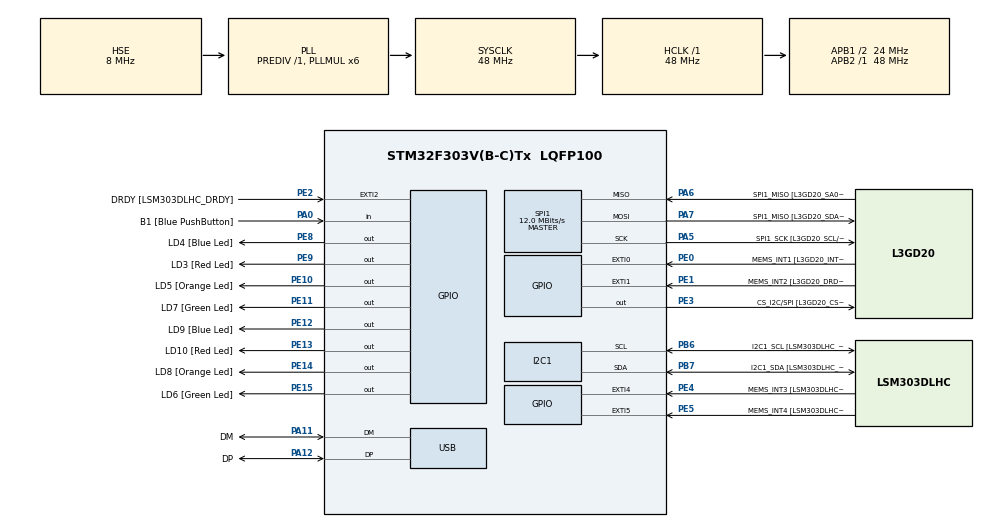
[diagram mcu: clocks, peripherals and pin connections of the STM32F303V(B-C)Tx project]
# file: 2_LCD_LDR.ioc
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I2C1.Timing=0x00201D2B
I2C1.Timing-I2C=0x2000090E
Mcu.Family=STM32F3
Mcu.Name=STM32F303V(B-C)Tx
Mcu.Package=LQFP100
NVIC.PriorityGroup=NVIC_PRIORITYGROUP_0
PA0.GPIO_Label=B1 [Blue PushButton]
PA0.Signal=GPIO_Input
PA11.GPIO_Label=DM
PA11.Mode=Device
PA11.Signal=USB_DM
PA12.GPIO_Label=DP
PA12.Mode=Device
PA12.Signal=USB_DP
PA13.GPIO_Label=SWDIO
PA13.Mode=Serial_Wire
PA13.Signal=SYS_JTMS-SWDIO
PA14.GPIO_Label=SWCLK
PA14.Mode=Serial_Wire
PA14.Signal=SYS_JTCK-SWCLK
PA5.GPIO_Label=SPI1_SCK [L3GD20_SCL/SPC]
PA5.Mode=Full_Duplex_Master
PA5.Signal=SPI1_SCK
PA6.GPIO_Label=SPI1_MISO [L3GD20_SA0/SDO]
PA6.Mode=Full_Duplex_Master
PA6.Signal=SPI1_MISO
PA7.GPIO_Label=SPI1_MISO [L3GD20_SDA/SDI/SDO]
PA7.Mode=Full_Duplex_Master
PA7.Signal=SPI1_MOSI
PB3.GPIO_Label=SWO
PB3.Signal=SYS_JTDO-TRACESWO
PB6.GPIO_Label=I2C1_SCL [LSM303DLHC_SCL]
PB6.GPIO_Pu=GPIO_PULLUP
PB6.Mode=I2C
PB6.Signal=I2C1_SCL
PB7.GPIO_Label=I2C1_SDA [LSM303DLHC_SDA]
PB7.GPIO_Pu=GPIO_PULLUP
PB7.Mode=I2C
PB7.Signal=I2C1_SDA
PC14-OSC32_IN.GPIO_Label=OSC32_IN
PC14-OSC32_IN.Signal=RCC_OSC32_IN
PC15-OSC32_OUT.GPIO_Label=OSC32_OUT
PC15-OSC32_OUT.Signal=RCC_OSC32_OUT
PE0.GPIO_Label=MEMS_INT1 [L3GD20_INT1]
PE0.GPIO_ModeDefaultEXTI=GPIO_MODE_EVT_RISING
PE0.Signal=GPXTI0
PE1.GPIO_Label=MEMS_INT2 [L3GD20_DRDY/INT2]
PE1.GPIO_ModeDefaultEXTI=GPIO_MODE_EVT_RISING
PE1.Signal=GPXTI1
PE10.GPIO_Label=LD5 [Orange Led]
PE10.Signal=GPIO_Output
PE11.GPIO_Label=LD7 [Green Led]
PE11.Signal=GPIO_Output
PE12.GPIO_Label=LD9 [Blue Led]
PE12.Signal=GPIO_Output
PE13.GPIO_Label=LD10 [Red Led]
PE13.Signal=GPIO_Output
PE14.GPIO_Label=LD8 [Orange Led]
PE14.Signal=GPIO_Output
PE15.GPIO_Label=LD6 [Green Led]
PE15.Signal=GPIO_Output
PE2.GPIO_Label=DRDY [LSM303DLHC_DRDY]
PE2.GPIO_ModeDefaultEXTI=GPIO_MODE_EVT_RISING
PE2.Signal=GPXTI2
PE3.GPIO_Label=CS_I2C/SPI [L3GD20_CS_I2C/SPI]
PE3.Signal=GPIO_Output
PE4.GPIO_Label=MEMS_INT3 [LSM303DLHC_INT1]
PE4.GPIO_ModeDefaultEXTI=GPIO_MODE_EVT_RISING
PE4.Signal=GPXTI4
PE5.GPIO_Label=MEMS_INT4 [LSM303DLHC_INT2]
PE5.GPIO_ModeDefaultEXTI=GPIO_MODE_EVT_RISING
PE5.Signal=GPXTI5
PE8.GPIO_Label=LD4 [Blue Led]
PE8.Signal=GPIO_Output
PE9.GPIO_Label=LD3 [Red Led]
PE9.Signal=GPIO_Output
PF0-OSC_IN.GPIO_Label=OSC_IN
PF0-OSC_IN.Mode=HSE-External-Clock-Source
PF0-OSC_IN.Signal=RCC_OSC_IN
PF1-OSC_OUT.GPIO_Label=OSC_OUT
PF1-OSC_OUT.Signal=RCC_OSC_OUT
ProjectManager.HeapSize=0x200
ProjectManager.StackSize=0x400
ProjectManager.TargetToolchain=STM32CubeIDE
RCC.AHBFreq_Value=48000000
RCC.APB1CLKDivider=RCC_HCLK_DIV2
RCC.APB1Freq_Value=24000000
RCC.APB1TimFreq_Value=48000000
RCC.APB2Freq_Value=48000000
RCC.APB2TimFreq_Value=48000000
RCC.CortexFreq_Value=48000000
RCC.HCLKFreq_Value=48000000
RCC.HSE_VALUE=8000000
RCC.HSI_VALUE=8000000
RCC.LSE_VALUE=32768
RCC.PLLMUL=RCC_PLL_MUL6
RCC.SYSCLKFreq_VALUE=48000000
RCC.SYSCLKSourceVirtual=RCC_SYSCLKSOURCE_PLLCLK
RCC.USBFreq_Value=48000000
SPI1.BaudRatePrescaler=SPI_BAUDRATEPRESCALER_4
SPI1.BaudRatePrescaler-Full_Duplex_Master=SPI_BAUDRATEPRESCALER_2
SPI1.CalculateBaudRate=12.0 MBits/s
SPI1.CalculateBaudRate-Full_Duplex_Master=24.0 MBits/s
SPI1.Direction=SPI_DIRECTION_2LINES
SPI1.Mode=SPI_MODE_MASTER
SPI1.Mode-Full_Duplex_Master=SPI_MODE_MASTER
SPI1.VirtualType=VM_MASTER
board=STM32F3DISCOVERY

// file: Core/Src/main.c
/* USER CODE BEGIN Header */
/**
  ******************************************************************************
  * @file           : main.c 2_LCD_LDR
  * @brief          : Main program body
  ******************************************************************************
  * @attention
  *
  * Copyright (c) 2025 STMicroelectronics.
  * All rights reserved.
  *
  * This software is licensed under terms that can be found in the LICENSE file
  * in the root directory of this software component.
  * If no LICENSE file comes with this software, it is provided AS-IS.
  *
  ******************************************************************************
  */
/* USER CODE END Header */
#include "main.h"

/* USER CODE BEGIN Includes */
#include "stm32f3xx_hal.h"
#include "stdio.h"
#include "string.h"
#include "i2c.h"
#include "adc.h"
#include "timer.h"

/* USER CODE END Includes */

/* USER CODE BEGIN PD */
#define LIGHT_THRESHOLD 3400

/* USER CODE END PD */

I2C_HandleTypeDef hi2c1;

SPI_HandleTypeDef hspi1;

PCD_HandleTypeDef hpcd_USB_FS;

/* USER CODE BEGIN PV */
uint16_t lux=0;
char msg[20];
/* USER CODE END PV */

void SystemClock_Config(void);
static void MX_GPIO_Init(void);
static void MX_I2C1_Init(void);
static void MX_SPI1_Init(void);
static void MX_USB_PCD_Init(void);

int main(void)
{

  /* MCU Configuration--------------------------------------------------------*/

  /* Reset of all peripherals, Initializes the Flash interface and the Systick. */
  HAL_Init();

  /* Configure the system clock */
  SystemClock_Config();

  /* Initialize all configured peripherals */
  MX_GPIO_Init();
  MX_I2C1_Init();
  MX_SPI1_Init();
  MX_USB_PCD_Init();
  /* USER CODE BEGIN 2 */
  HD44780_Init(2);
  HD44780_Backlight();

  initialiseSingleADC();
  init_TIM2_for_delay();

  uint8_t last_state = 255; // Invalid initial state to force first update

  /* USER CODE END 2 */

  /* Infinite loop */
  /* USER CODE BEGIN WHILE */
  while (1)
  {
	  // Use your manual ADC function instead of HAL
	      lux = readLDR_ADC();

	      uint8_t current_state = (lux > LIGHT_THRESHOLD) ? 1 : 0;

	      if (current_state != last_state) {
	    	  HD44780_Clear();

	      if (current_state) {
	    	  HD44780_SetCursor(0, 0);
	    	  HD44780_PrintStr("Place crystal");
	    	  HD44780_SetCursor(0, 1);
	    	  HD44780_PrintStr("on handle!");
	          } else {
	        	  HD44780_SetCursor(0, 0);
	        	  HD44780_PrintStr("Too dark...");
	                  }

	      last_state = current_state;

	      }

	      delay_ms(500);

    /* USER CODE END WHILE */

  }
}

void SystemClock_Config(void)
{
  RCC_OscInitTypeDef RCC_OscInitStruct = {0};
  RCC_ClkInitTypeDef RCC_ClkInitStruct = {0};
  RCC_PeriphCLKInitTypeDef PeriphClkInit = {0};

  /** Initializes the RCC Oscillators according to the specified parameters
  * in the RCC_OscInitTypeDef structure.
  */
  RCC_OscInitStruct.OscillatorType = RCC_OSCILLATORTYPE_HSI|RCC_OSCILLATORTYPE_HSE;
  RCC_OscInitStruct.HSEState = RCC_HSE_BYPASS;
  RCC_OscInitStruct.HSEPredivValue = RCC_HSE_PREDIV_DIV1;
  RCC_OscInitStruct.HSIState = RCC_HSI_ON;
  RCC_OscInitStruct.HSICalibrationValue = RCC_HSICALIBRATION_DEFAULT;
  RCC_OscInitStruct.PLL.PLLState = RCC_PLL_ON;
  RCC_OscInitStruct.PLL.PLLSource = RCC_PLLSOURCE_HSE;
  RCC_OscInitStruct.PLL.PLLMUL = RCC_PLL_MUL6;
  if (HAL_RCC_OscConfig(&RCC_OscInitStruct) != HAL_OK)
  {
    Error_Handler();
  }

  /** Initializes the CPU, AHB and APB buses clocks
  */
  RCC_ClkInitStruct.ClockType = RCC_CLOCKTYPE_HCLK|RCC_CLOCKTYPE_SYSCLK
                              |RCC_CLOCKTYPE_PCLK1|RCC_CLOCKTYPE_PCLK2;
  RCC_ClkInitStruct.SYSCLKSource = RCC_SYSCLKSOURCE_PLLCLK;
  RCC_ClkInitStruct.AHBCLKDivider = RCC_SYSCLK_DIV1;
  RCC_ClkInitStruct.APB1CLKDivider = RCC_HCLK_DIV2;
  RCC_ClkInitStruct.APB2CLKDivider = RCC_HCLK_DIV1;

  if (HAL_RCC_ClockConfig(&RCC_ClkInitStruct, FLASH_LATENCY_1) != HAL_OK)
  {
    Error_Handler();
  }
  PeriphClkInit.PeriphClockSelection = RCC_PERIPHCLK_USB|RCC_PERIPHCLK_I2C1;
  PeriphClkInit.I2c1ClockSelection = RCC_I2C1CLKSOURCE_HSI;
  PeriphClkInit.USBClockSelection = RCC_USBCLKSOURCE_PLL;
  if (HAL_RCCEx_PeriphCLKConfig(&PeriphClkInit) != HAL_OK)
  {
    Error_Handler();
  }
}

static void MX_I2C1_Init(void)
{

  hi2c1.Instance = I2C1;
  hi2c1.Init.Timing = 0x00201D2B;
  hi2c1.Init.OwnAddress1 = 0;
  hi2c1.Init.AddressingMode = I2C_ADDRESSINGMODE_7BIT;
  hi2c1.Init.DualAddressMode = I2C_DUALADDRESS_DISABLE;
  hi2c1.Init.OwnAddress2 = 0;
  hi2c1.Init.OwnAddress2Masks = I2C_OA2_NOMASK;
  hi2c1.Init.GeneralCallMode = I2C_GENERALCALL_DISABLE;
  hi2c1.Init.NoStretchMode = I2C_NOSTRETCH_DISABLE;
  if (HAL_I2C_Init(&hi2c1) != HAL_OK)
  {
    Error_Handler();
  }

  /** Configure Analogue filter
  */
  if (HAL_I2CEx_ConfigAnalogFilter(&hi2c1, I2C_ANALOGFILTER_ENABLE) != HAL_OK)
  {
    Error_Handler();
  }

  /** Configure Digital filter
  */
  if (HAL_I2CEx_ConfigDigitalFilter(&hi2c1, 0) != HAL_OK)
  {
    Error_Handler();
  }

}

static void MX_SPI1_Init(void)
{

  /* SPI1 parameter configuration*/
  hspi1.Instance = SPI1;
  hspi1.Init.Mode = SPI_MODE_MASTER;
  hspi1.Init.Direction = SPI_DIRECTION_2LINES;
  hspi1.Init.DataSize = SPI_DATASIZE_4BIT;
  hspi1.Init.CLKPolarity = SPI_POLARITY_LOW;
  hspi1.Init.CLKPhase = SPI_PHASE_1EDGE;
  hspi1.Init.NSS = SPI_NSS_SOFT;
  hspi1.Init.BaudRatePrescaler = SPI_BAUDRATEPRESCALER_4;
  hspi1.Init.FirstBit = SPI_FIRSTBIT_MSB;
  hspi1.Init.TIMode = SPI_TIMODE_DISABLE;
  hspi1.Init.CRCCalculation = SPI_CRCCALCULATION_DISABLE;
  hspi1.Init.CRCPolynomial = 7;
  hspi1.Init.CRCLength = SPI_CRC_LENGTH_DATASIZE;
  hspi1.Init.NSSPMode = SPI_NSS_PULSE_ENABLE;
  if (HAL_SPI_Init(&hspi1) != HAL_OK)
  {
    Error_Handler();
  }

}

static void MX_USB_PCD_Init(void)
{

  hpcd_USB_FS.Instance = USB;
  hpcd_USB_FS.Init.dev_endpoints = 8;
  hpcd_USB_FS.Init.speed = PCD_SPEED_FULL;
  hpcd_USB_FS.Init.phy_itface = PCD_PHY_EMBEDDED;
  hpcd_USB_FS.Init.low_power_enable = DISABLE;
  hpcd_USB_FS.Init.battery_charging_enable = DISABLE;
  if (HAL_PCD_Init(&hpcd_USB_FS) != HAL_OK)
  {
    Error_Handler();
  }

}

static void MX_GPIO_Init(void)
{
  GPIO_InitTypeDef GPIO_InitStruct = {0};

  /* GPIO Ports Clock Enable */
  __HAL_RCC_GPIOE_CLK_ENABLE();
  __HAL_RCC_GPIOC_CLK_ENABLE();
  __HAL_RCC_GPIOF_CLK_ENABLE();
  __HAL_RCC_GPIOA_CLK_ENABLE();
  __HAL_RCC_GPIOB_CLK_ENABLE();

  /*Configure GPIO pin Output Level */
  HAL_GPIO_WritePin(GPIOE, CS_I2C_SPI_Pin|LD4_Pin|LD3_Pin|LD5_Pin
                          |LD7_Pin|LD9_Pin|LD10_Pin|LD8_Pin
                          |LD6_Pin, GPIO_PIN_RESET);

  /*Configure GPIO pins : DRDY_Pin MEMS_INT3_Pin MEMS_INT4_Pin MEMS_INT1_Pin
                           MEMS_INT2_Pin */
  GPIO_InitStruct.Pin = DRDY_Pin|MEMS_INT3_Pin|MEMS_INT4_Pin|MEMS_INT1_Pin
                          |MEMS_INT2_Pin;
  GPIO_InitStruct.Mode = GPIO_MODE_EVT_RISING;
  GPIO_InitStruct.Pull = GPIO_NOPULL;
  HAL_GPIO_Init(GPIOE, &GPIO_InitStruct);

  /*Configure GPIO pins : CS_I2C_SPI_Pin LD4_Pin LD3_Pin LD5_Pin
                           LD7_Pin LD9_Pin LD10_Pin LD8_Pin
                           LD6_Pin */
  GPIO_InitStruct.Pin = CS_I2C_SPI_Pin|LD4_Pin|LD3_Pin|LD5_Pin
                          |LD7_Pin|LD9_Pin|LD10_Pin|LD8_Pin
                          |LD6_Pin;
  GPIO_InitStruct.Mode = GPIO_MODE_OUTPUT_PP;
  GPIO_InitStruct.Pull = GPIO_NOPULL;
  GPIO_InitStruct.Speed = GPIO_SPEED_FREQ_LOW;
  HAL_GPIO_Init(GPIOE, &GPIO_InitStruct);

  /*Configure GPIO pin : B1_Pin */
  GPIO_InitStruct.Pin = B1_Pin;
  GPIO_InitStruct.Mode = GPIO_MODE_INPUT;
  GPIO_InitStruct.Pull = GPIO_NOPULL;
  HAL_GPIO_Init(B1_GPIO_Port, &GPIO_InitStruct);

}

void Error_Handler(void)
{
  __disable_irq();
  while (1)
  {
  }
}
